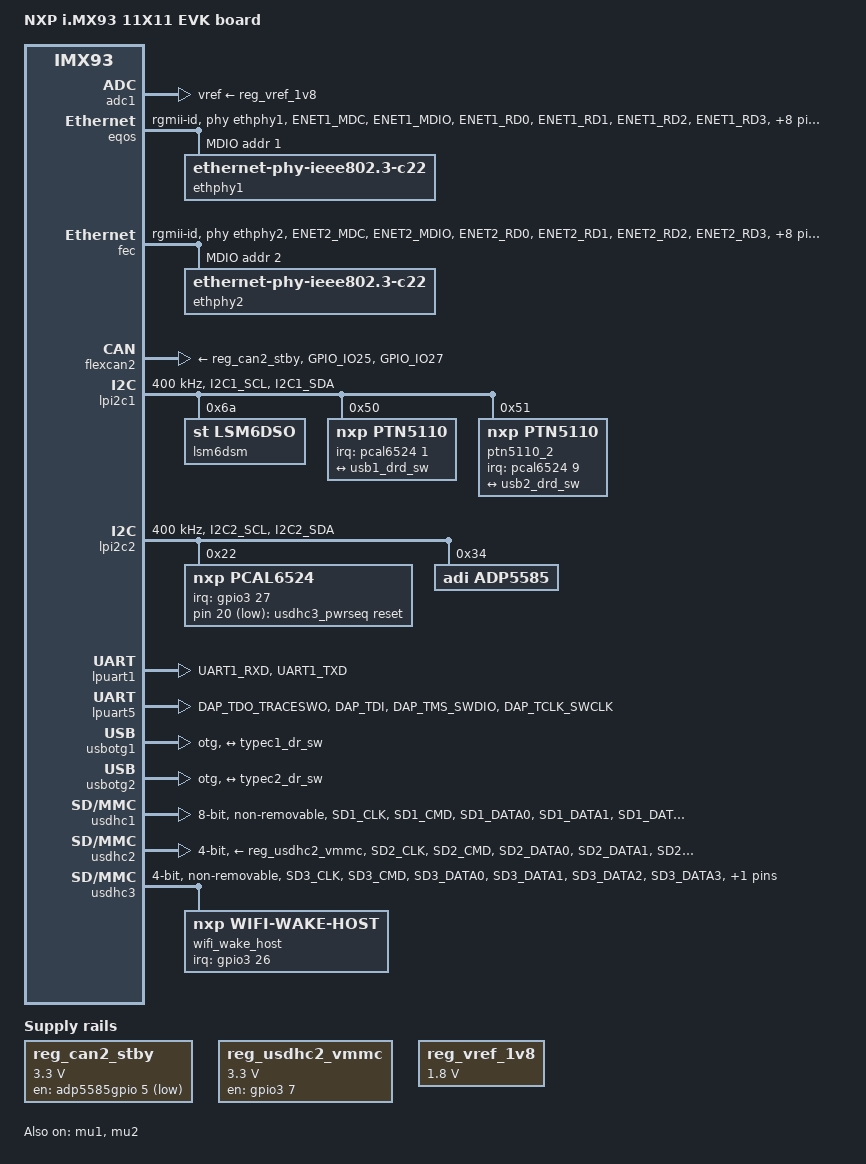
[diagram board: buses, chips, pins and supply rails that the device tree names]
// SPDX-License-Identifier: (GPL-2.0+ OR MIT)
/*
 * Copyright 2022 NXP
 */

/dts-v1/;

#include <dt-bindings/usb/pd.h>
#include "imx93.dtsi"

/ {
	model = "NXP i.MX93 11X11 EVK board";
	compatible = "fsl,imx93-11x11-evk", "fsl,imx93";

	chosen {
		stdout-path = &lpuart1;
	};

	reg_can2_stby: regulator-can2-stby {
		compatible = "regulator-fixed";
		regulator-name = "can2-stby";
		regulator-min-microvolt = <3300000>;
		regulator-max-microvolt = <3300000>;
		gpio = <&adp5585gpio 5 GPIO_ACTIVE_LOW>;
		enable-active-low;
	};

	reg_usdhc2_vmmc: regulator-usdhc2 {
		compatible = "regulator-fixed";
		pinctrl-names = "default";
		pinctrl-0 = <&pinctrl_reg_usdhc2_vmmc>;
		regulator-name = "VSD_3V3";
		regulator-min-microvolt = <3300000>;
		regulator-max-microvolt = <3300000>;
		gpio = <&gpio3 7 GPIO_ACTIVE_HIGH>;
		enable-active-high;
	};

	reg_vref_1v8: regulator-adc-vref {
		compatible = "regulator-fixed";
		regulator-name = "vref_1v8";
		regulator-min-microvolt = <1800000>;
		regulator-max-microvolt = <1800000>;
	};

	usdhc3_pwrseq: usdhc3_pwrseq {
		compatible = "mmc-pwrseq-simple";
		reset-gpios = <&pcal6524 20 GPIO_ACTIVE_LOW>;
	};
};

&adc1 {
	vref-supply = <&reg_vref_1v8>;
	status = "okay";
};

&eqos {
	pinctrl-names = "default";
	pinctrl-0 = <&pinctrl_eqos>;
	phy-mode = "rgmii-id";
	phy-handle = <&ethphy1>;
	status = "okay";

	mdio {
		compatible = "snps,dwmac-mdio";
		#address-cells = <1>;
		#size-cells = <0>;
		clock-frequency = <5000000>;

		ethphy1: ethernet-phy@1 {
			compatible = "ethernet-phy-ieee802.3-c22";
			reg = <1>;
			eee-broken-1000t;
			rtl821x,aldps-disable;
			rtl821x,clkout-disable;
		};
	};
};

&fec {
	pinctrl-names = "default";
	pinctrl-0 = <&pinctrl_fec>;
	phy-mode = "rgmii-id";
	phy-handle = <&ethphy2>;
	fsl,magic-packet;
	status = "okay";

	mdio {
		#address-cells = <1>;
		#size-cells = <0>;
		clock-frequency = <5000000>;

		ethphy2: ethernet-phy@2 {
			compatible = "ethernet-phy-ieee802.3-c22";
			reg = <2>;
			eee-broken-1000t;
			rtl821x,aldps-disable;
			rtl821x,clkout-disable;
		};
	};
};

&flexcan2 {
	pinctrl-names = "default";
	pinctrl-0 = <&pinctrl_flexcan2>;
	xceiver-supply = <&reg_can2_stby>;
	status = "okay";
};

&lpi2c1 {
	#address-cells = <1>;
	#size-cells = <0>;
	clock-frequency = <400000>;
	pinctrl-names = "default", "sleep";
	pinctrl-0 = <&pinctrl_lpi2c1>;
	pinctrl-1 = <&pinctrl_lpi2c1>;
	status = "okay";

	lsm6dsm@6a {
		compatible = "st,lsm6dso";
		reg = <0x6a>;
	};

	ptn5110: tcpc@50 {
		compatible = "nxp,ptn5110";
		reg = <0x50>;
		interrupt-parent = <&pcal6524>;
		interrupts = <1 IRQ_TYPE_EDGE_FALLING>;
		status = "okay";

		port {
			typec1_dr_sw: endpoint {
				remote-endpoint = <&usb1_drd_sw>;
			};
		};

		typec1_con: connector {
			compatible = "usb-c-connector";
			label = "USB-C";
			power-role = "dual";
			data-role = "dual";
			try-power-role = "sink";
			source-pdos = <PDO_FIXED(5000, 3000, PDO_FIXED_USB_COMM)>;
			sink-pdos = <PDO_FIXED(5000, 3000, PDO_FIXED_USB_COMM)
				     PDO_VAR(5000, 20000, 3000)>;
			op-sink-microwatt = <15000000>;
			self-powered;
		};
	};

	ptn5110_2: tcpc@51 {
		compatible = "nxp,ptn5110";
		reg = <0x51>;
		interrupt-parent = <&pcal6524>;
		interrupts = <9 IRQ_TYPE_EDGE_FALLING>;
		status = "okay";

		port {
			typec2_dr_sw: endpoint {
				remote-endpoint = <&usb2_drd_sw>;
			};
		};

		typec2_con: connector {
			compatible = "usb-c-connector";
			label = "USB-C";
			power-role = "dual";
			data-role = "dual";
			try-power-role = "sink";
			source-pdos = <PDO_FIXED(5000, 3000, PDO_FIXED_USB_COMM)>;
			sink-pdos = <PDO_FIXED(5000, 3000, PDO_FIXED_USB_COMM)
				     PDO_VAR(5000, 20000, 3000)>;
			op-sink-microwatt = <15000000>;
			self-powered;
		};
	};
};

&lpi2c2 {
	#address-cells = <1>;
	#size-cells = <0>;
	clock-frequency = <400000>;
	pinctrl-names = "default", "sleep";
	pinctrl-0 = <&pinctrl_lpi2c2>;
	pinctrl-1 = <&pinctrl_lpi2c2>;
	status = "okay";

	pcal6524: gpio@22 {
		compatible = "nxp,pcal6524";
		pinctrl-names = "default";
		pinctrl-0 = <&pinctrl_pcal6524>;
		reg = <0x22>;
		gpio-controller;
		#gpio-cells = <2>;
		interrupt-controller;
		#interrupt-cells = <2>;
		interrupt-parent = <&gpio3>;
		interrupts = <27 IRQ_TYPE_LEVEL_LOW>;
	};

	adp5585: mfd@34 {
		compatible = "adi,adp5585";
		reg = <0x34>;

		adp5585gpio: gpio@34 {
			compatible = "adp5585-gpio";
			gpio-controller;
			#gpio-cells = <2>;
		};
	};
};

&lpuart1 { /* console */
	pinctrl-names = "default";
	pinctrl-0 = <&pinctrl_uart1>;
	status = "okay";
};

&lpuart5 {
	/* BT */
	pinctrl-names = "default";
	pinctrl-0 = <&pinctrl_uart5>;
	status = "okay";
};

&mu1 {
	status = "okay";
};

&mu2 {
	status = "okay";
};

&usbotg1 {
	dr_mode = "otg";
	hnp-disable;
	srp-disable;
	adp-disable;
	usb-role-switch;
	disable-over-current;
	samsung,picophy-pre-emp-curr-control = <3>;
	samsung,picophy-dc-vol-level-adjust = <7>;
	status = "okay";

	port {
		usb1_drd_sw: endpoint {
			remote-endpoint = <&typec1_dr_sw>;
		};
	};
};

&usbotg2 {
	dr_mode = "otg";
	hnp-disable;
	srp-disable;
	adp-disable;
	usb-role-switch;
	disable-over-current;
	samsung,picophy-pre-emp-curr-control = <3>;
	samsung,picophy-dc-vol-level-adjust = <7>;
	status = "okay";

	port {
		usb2_drd_sw: endpoint {
			remote-endpoint = <&typec2_dr_sw>;
		};
	};
};

&usdhc1 {
	pinctrl-names = "default", "state_100mhz", "state_200mhz";
	pinctrl-0 = <&pinctrl_usdhc1>;
	pinctrl-1 = <&pinctrl_usdhc1>;
	pinctrl-2 = <&pinctrl_usdhc1>;
	bus-width = <8>;
	non-removable;
	status = "okay";
};

&usdhc2 {
	pinctrl-names = "default", "state_100mhz", "state_200mhz";
	pinctrl-0 = <&pinctrl_usdhc2>, <&pinctrl_usdhc2_gpio>;
	pinctrl-1 = <&pinctrl_usdhc2>, <&pinctrl_usdhc2_gpio>;
	pinctrl-2 = <&pinctrl_usdhc2>, <&pinctrl_usdhc2_gpio>;
	cd-gpios = <&gpio3 00 GPIO_ACTIVE_LOW>;
	vmmc-supply = <&reg_usdhc2_vmmc>;
	bus-width = <4>;
	status = "okay";
	no-sdio;
	no-mmc;
};

&usdhc3 {
	pinctrl-names = "default", "state_100mhz", "state_200mhz";
	pinctrl-0 = <&pinctrl_usdhc3>, <&pinctrl_usdhc3_wlan>;
	pinctrl-1 = <&pinctrl_usdhc3>, <&pinctrl_usdhc3_wlan>;
	pinctrl-2 = <&pinctrl_usdhc3>, <&pinctrl_usdhc3_wlan>;
	mmc-pwrseq = <&usdhc3_pwrseq>;
	pinctrl-assert-gpios = <&pcal6524 13 GPIO_ACTIVE_HIGH>;
	bus-width = <4>;
	keep-power-in-suspend;
	non-removable;
	wakeup-source;
	fsl,sdio-async-interrupt-enabled;
	status = "okay";

	wifi_wake_host {
		compatible = "nxp,wifi-wake-host";
		interrupt-parent = <&gpio3>;
		interrupts = <26 IRQ_TYPE_LEVEL_LOW>;
		interrupt-names = "host-wake";
	};
};

&iomuxc {
	pinctrl_eqos: eqosgrp {
		fsl,pins = <
			MX93_PAD_ENET1_MDC__ENET_QOS_MDC			0x57e
			MX93_PAD_ENET1_MDIO__ENET_QOS_MDIO			0x57e
			MX93_PAD_ENET1_RD0__ENET_QOS_RGMII_RD0			0x57e
			MX93_PAD_ENET1_RD1__ENET_QOS_RGMII_RD1			0x57e
			MX93_PAD_ENET1_RD2__ENET_QOS_RGMII_RD2			0x57e
			MX93_PAD_ENET1_RD3__ENET_QOS_RGMII_RD3			0x57e
			MX93_PAD_ENET1_RXC__CCM_ENET_QOS_CLOCK_GENERATE_RX_CLK	0x5fe
			MX93_PAD_ENET1_RX_CTL__ENET_QOS_RGMII_RX_CTL		0x57e
			MX93_PAD_ENET1_TD0__ENET_QOS_RGMII_TD0			0x57e
			MX93_PAD_ENET1_TD1__ENET_QOS_RGMII_TD1			0x57e
			MX93_PAD_ENET1_TD2__ENET_QOS_RGMII_TD2			0x57e
			MX93_PAD_ENET1_TD3__ENET_QOS_RGMII_TD3			0x57e
			MX93_PAD_ENET1_TXC__CCM_ENET_QOS_CLOCK_GENERATE_TX_CLK	0x5fe
			MX93_PAD_ENET1_TX_CTL__ENET_QOS_RGMII_TX_CTL		0x57e
		>;
	};

	pinctrl_fec: fecgrp {
		fsl,pins = <
			MX93_PAD_ENET2_MDC__ENET1_MDC			0x57e
			MX93_PAD_ENET2_MDIO__ENET1_MDIO			0x57e
			MX93_PAD_ENET2_RD0__ENET1_RGMII_RD0		0x57e
			MX93_PAD_ENET2_RD1__ENET1_RGMII_RD1		0x57e
			MX93_PAD_ENET2_RD2__ENET1_RGMII_RD2		0x57e
			MX93_PAD_ENET2_RD3__ENET1_RGMII_RD3		0x57e
			MX93_PAD_ENET2_RXC__ENET1_RGMII_RXC		0x5fe
			MX93_PAD_ENET2_RX_CTL__ENET1_RGMII_RX_CTL	0x57e
			MX93_PAD_ENET2_TD0__ENET1_RGMII_TD0		0x57e
			MX93_PAD_ENET2_TD1__ENET1_RGMII_TD1		0x57e
			MX93_PAD_ENET2_TD2__ENET1_RGMII_TD2		0x57e
			MX93_PAD_ENET2_TD3__ENET1_RGMII_TD3		0x57e
			MX93_PAD_ENET2_TXC__ENET1_RGMII_TXC		0x5fe
			MX93_PAD_ENET2_TX_CTL__ENET1_RGMII_TX_CTL	0x57e
		>;
	};

	pinctrl_flexcan2: flexcan2grp {
		fsl,pins = <
			MX93_PAD_GPIO_IO25__CAN2_TX	0x139e
			MX93_PAD_GPIO_IO27__CAN2_RX	0x139e
		>;
	};

	pinctrl_lpi2c1: lpi2c1grp {
		fsl,pins = <
			MX93_PAD_I2C1_SCL__LPI2C1_SCL			0x40000b9e
			MX93_PAD_I2C1_SDA__LPI2C1_SDA			0x40000b9e
		>;
	};

	pinctrl_lpi2c2: lpi2c2grp {
		fsl,pins = <
			MX93_PAD_I2C2_SCL__LPI2C2_SCL			0x40000b9e
			MX93_PAD_I2C2_SDA__LPI2C2_SDA			0x40000b9e
		>;
	};

	pinctrl_pcal6524: pcal6524grp {
		fsl,pins = <
			MX93_PAD_CCM_CLKO2__GPIO3_IO27			0x31e
		>;
	};

	pinctrl_uart1: uart1grp {
		fsl,pins = <
			MX93_PAD_UART1_RXD__LPUART1_RX			0x31e
			MX93_PAD_UART1_TXD__LPUART1_TX			0x31e
		>;
	};

	pinctrl_uart5: uart5grp {
		fsl,pins = <
			MX93_PAD_DAP_TDO_TRACESWO__LPUART5_TX	0x31e
			MX93_PAD_DAP_TDI__LPUART5_RX		0x31e
			MX93_PAD_DAP_TMS_SWDIO__LPUART5_RTS_B	0x31e
			MX93_PAD_DAP_TCLK_SWCLK__LPUART5_CTS_B	0x31e
		>;
	};

	pinctrl_usdhc1: usdhc1grp {
		fsl,pins = <
			MX93_PAD_SD1_CLK__USDHC1_CLK		0x17fe
			MX93_PAD_SD1_CMD__USDHC1_CMD		0x13fe
			MX93_PAD_SD1_DATA0__USDHC1_DATA0	0x13fe
			MX93_PAD_SD1_DATA1__USDHC1_DATA1	0x13fe
			MX93_PAD_SD1_DATA2__USDHC1_DATA2	0x13fe
			MX93_PAD_SD1_DATA3__USDHC1_DATA3	0x13fe
			MX93_PAD_SD1_DATA4__USDHC1_DATA4	0x13fe
			MX93_PAD_SD1_DATA5__USDHC1_DATA5	0x13fe
			MX93_PAD_SD1_DATA6__USDHC1_DATA6	0x13fe
			MX93_PAD_SD1_DATA7__USDHC1_DATA7	0x13fe
			MX93_PAD_SD1_STROBE__USDHC1_STROBE	0x17fe
		>;
	};

	pinctrl_reg_usdhc2_vmmc: regusdhc2vmmcgrp {
		fsl,pins = <
			MX93_PAD_SD2_RESET_B__GPIO3_IO07	0x31e
		>;
	};

	pinctrl_usdhc2_gpio: usdhc2gpiogrp {
		fsl,pins = <
			MX93_PAD_SD2_CD_B__GPIO3_IO00		0x31e
		>;
	};

	pinctrl_usdhc2: usdhc2grp {
		fsl,pins = <
			MX93_PAD_SD2_CLK__USDHC2_CLK		0x17fe
			MX93_PAD_SD2_CMD__USDHC2_CMD		0x13fe
			MX93_PAD_SD2_DATA0__USDHC2_DATA0	0x13fe
			MX93_PAD_SD2_DATA1__USDHC2_DATA1	0x13fe
			MX93_PAD_SD2_DATA2__USDHC2_DATA2	0x13fe
			MX93_PAD_SD2_DATA3__USDHC2_DATA3	0x13fe
			MX93_PAD_SD2_VSELECT__USDHC2_VSELECT	0x51e
		>;
	};

	pinctrl_usdhc3: usdhc3grp {
		fsl,pins = <
			MX93_PAD_SD3_CLK__USDHC3_CLK			0x17fe
			MX93_PAD_SD3_CMD__USDHC3_CMD			0x13fe
			MX93_PAD_SD3_DATA0__USDHC3_DATA0		0x13fe
			MX93_PAD_SD3_DATA1__USDHC3_DATA1        	0x13fe
			MX93_PAD_SD3_DATA2__USDHC3_DATA2        	0x13fe
			MX93_PAD_SD3_DATA3__USDHC3_DATA3        	0x13fe
		>;
	};

	pinctrl_usdhc3_wlan: usdhc3wlangrp {
		fsl,pins = <
			MX93_PAD_CCM_CLKO1__GPIO3_IO26			0x31e
		>;
	};
};
